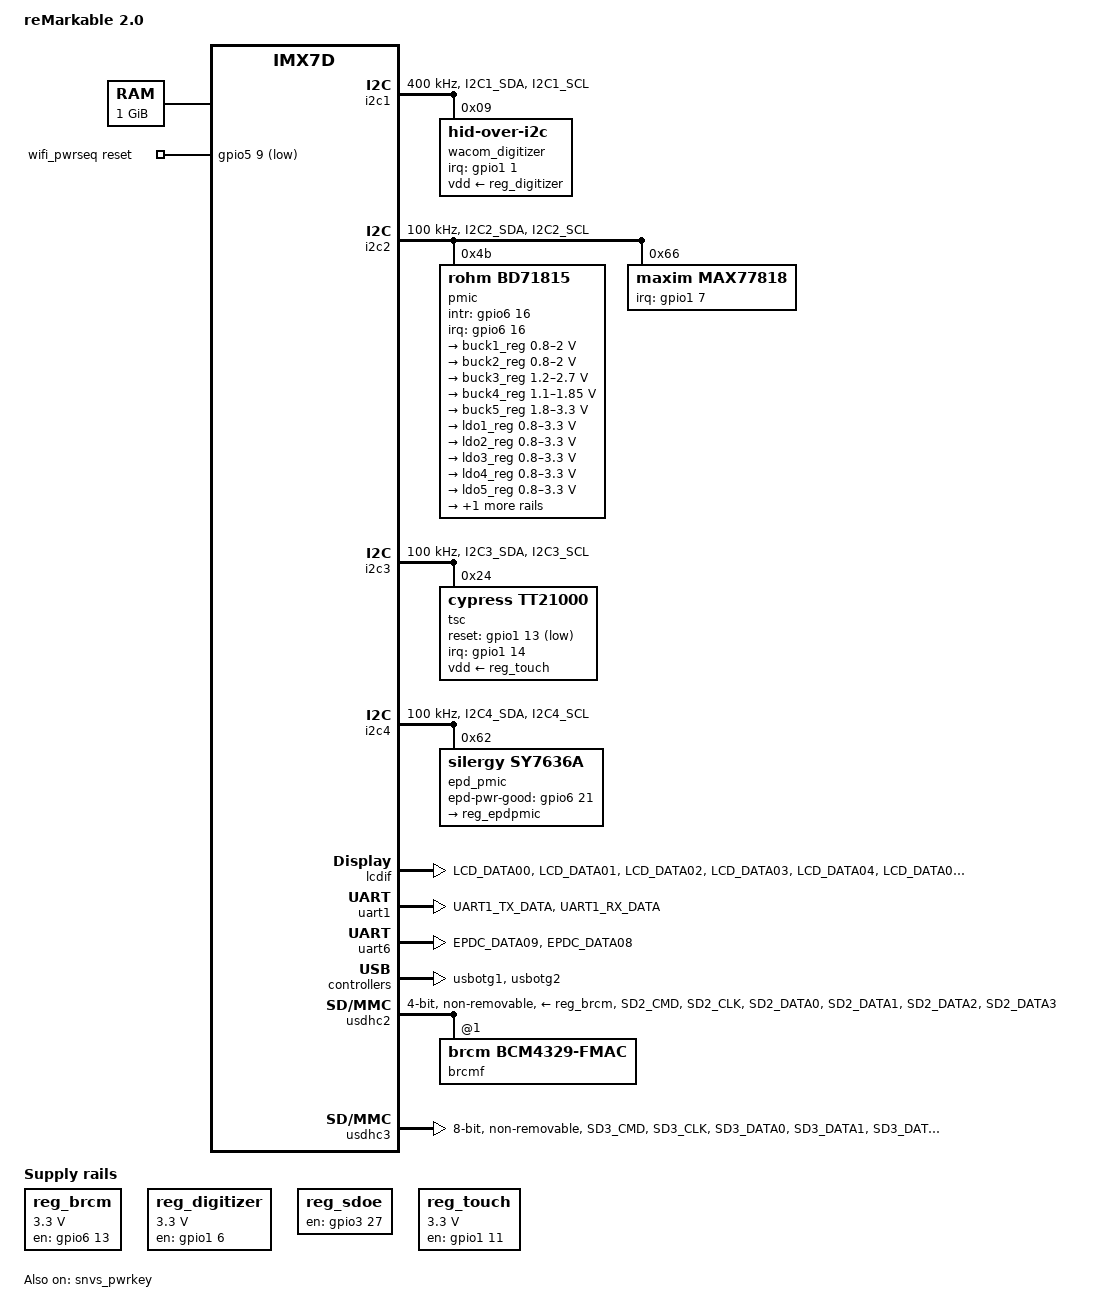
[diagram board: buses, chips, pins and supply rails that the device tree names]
// SPDX-License-Identifier: (GPL-2.0+ OR MIT)
/*
 * Copyright (C) 2015 Freescale Semiconductor, Inc.
 * Copyright (C) 2019 reMarkable AS - http://www.remarkable.com/
 *
 */

/dts-v1/;

#include "imx7d.dtsi"
#include <dt-bindings/input/linux-event-codes.h>

/ {
	model = "reMarkable 2.0";
	compatible = "remarkable,imx7d-remarkable2", "fsl,imx7d";

	chosen {
		stdout-path = &uart6;
	};

	memory@80000000 {
		device_type = "memory";
		reg = <0x80000000 0x40000000>;
	};

	thermal-zones {
		epd-thermal {
			thermal-sensors = <&epd_pmic>;
			polling-delay-passive = <30000>;
			polling-delay = <30000>;
			trips {
				trip0 {
					temperature = <49000>;
					hysteresis = <2000>;
					type = "passive";
				};

				trip1 {
					temperature = <50000>;
					hysteresis = <2000>;
					type = "critical";
				};
			};
		};
	};

	reg_brcm: regulator-brcm {
		compatible = "regulator-fixed";
		regulator-name = "brcm_reg";
		regulator-min-microvolt = <3300000>;
		regulator-max-microvolt = <3300000>;
		pinctrl-names = "default";
		pinctrl-0 = <&pinctrl_brcm_reg>;
		gpio = <&gpio6 13 GPIO_ACTIVE_HIGH>;
		enable-active-high;
		startup-delay-us = <150>;
	};

	reg_digitizer: regulator-digitizer {
		compatible = "regulator-fixed";
		regulator-name = "VDD_3V3_DIGITIZER";
		regulator-min-microvolt = <3300000>;
		regulator-max-microvolt = <3300000>;
		pinctrl-names = "default", "sleep";
		pinctrl-0 = <&pinctrl_digitizer_reg>;
		pinctrl-1 = <&pinctrl_digitizer_reg>;
		gpio = <&gpio1 6 GPIO_ACTIVE_HIGH>;
		enable-active-high;
		startup-delay-us = <100000>; /* 100 ms */
	};

	reg_sdoe: regulator-sdoe {
		compatible = "regulator-fixed";
		regulator-name = "SDOE";
		pinctrl-names = "default", "sleep";
		pinctrl-0 = <&pinctrl_sdoe_reg>;
		pinctrl-1 = <&pinctrl_sdoe_reg>;
		gpio = <&gpio3 27 GPIO_ACTIVE_HIGH>;
		enable-active-high;
	};

	reg_touch: regulator-touch {
		compatible = "regulator-fixed";
		regulator-name = "VDD_3V3_TOUCH";
		regulator-min-microvolt = <3300000>;
		regulator-max-microvolt = <3300000>;
		pinctrl-names = "default", "sleep";
		pinctrl-0 = <&pinctrl_touch_reg>;
		pinctrl-1 = <&pinctrl_touch_reg>;
		gpio = <&gpio1 11 GPIO_ACTIVE_HIGH>;
		enable-active-high;
	};

	wifi_pwrseq: wifi_pwrseq {
		compatible = "mmc-pwrseq-simple";
		pinctrl-names = "default";
		pinctrl-0 = <&pinctrl_wifi>;
		reset-gpios = <&gpio5 9 GPIO_ACTIVE_LOW>;
		clocks = <&clks IMX7D_CLKO2_ROOT_DIV>;
		clock-names = "ext_clock";
	};
};

&cpu0 {
	cpu-supply = <&buck1_reg>;
};

&clks {
	assigned-clocks = <&clks IMX7D_CLKO2_ROOT_SRC>,
			  <&clks IMX7D_CLKO2_ROOT_DIV>;
	assigned-clock-parents = <&clks IMX7D_CKIL>;
	assigned-clock-rates = <0>, <32768>;
};

&i2c1 {
	clock-frequency = <400000>;
	pinctrl-names = "default";
	pinctrl-0 = <&pinctrl_i2c1>;
	status = "okay";

	wacom_digitizer: digitizer@9 {
		compatible = "hid-over-i2c";
		reg = <0x09>;
		hid-descr-addr = <0x01>;
		pinctrl-names = "default";
		pinctrl-0 = <&pinctrl_wacom>;
		interrupt-parent = <&gpio1>;
		interrupts = <1 IRQ_TYPE_LEVEL_LOW>;
		touchscreen-inverted-x;
		touchscreen-inverted-y;
		vdd-supply = <&reg_digitizer>;
	};
};

&i2c2 {
	clock-frequency = <100000>;
	pinctrl-names = "default", "sleep";
	pinctrl-0 = <&pinctrl_i2c2>;
	pinctrl-1 = <&pinctrl_i2c2>;
	status = "okay";

	pmic: bd71815@4b {
		reg = <0x4b>;
		compatible = "rohm,bd71815";
		pinctrl-names = "default";
		pinctrl-0 = <&pinctrl_bd71815>;
		/* PMIC_INT_B GPIO6_IO16 */
		interrupt-parent = <&gpio6>;
		interrupts = <16 IRQ_TYPE_LEVEL_LOW>;
		gpio_intr = <&gpio6 16 0>;

		regulators {
			#address-cells = <1>;
			#size-cells = <0>;

			buck1_reg: regulator@0 {
				reg = <0>;
				regulator-compatible = "buck1";
				regulator-min-microvolt = <800000>;
				regulator-max-microvolt = <2000000>;
				regulator-boot-on;
				regulator-always-on;
				regulator-ramp-delay = <1250>;
			};

			buck2_reg: regulator@1 {
				reg = <1>;
				regulator-compatible = "buck2";
				regulator-min-microvolt = <800000>;
				regulator-max-microvolt = <2000000>;
				regulator-boot-on;
				regulator-always-on;
				regulator-ramp-delay = <1250>;
			};

			buck3_reg: regulator@2 {
				reg = <2>;
				regulator-compatible = "buck3";
				regulator-min-microvolt = <1200000>;
				regulator-max-microvolt = <2700000>;
				regulator-boot-on;
				regulator-always-on;
			};

			buck4_reg: regulator@3 {
				reg = <3>;
				regulator-compatible = "buck4";
				regulator-min-microvolt = <1100000>;
				regulator-max-microvolt = <1850000>;
				regulator-boot-on;
				regulator-always-on;
			};

			buck5_reg: regulator@4 {
				reg = <4>;
				regulator-compatible = "buck5";
				regulator-min-microvolt = <1800000>;
				regulator-max-microvolt = <3300000>;
				regulator-boot-on;
				regulator-always-on;
			};

			ldo1_reg: regulator@5 {
				reg = <5>;
				regulator-compatible = "ldo1";
				regulator-min-microvolt = <800000>;
				regulator-max-microvolt = <3300000>;
				regulator-boot-on;
				regulator-always-on;
			};

			ldo2_reg: regulator@6 {
				reg = <6>;
				regulator-compatible = "ldo2";
				regulator-min-microvolt = <800000>;
				regulator-max-microvolt = <3300000>;
				regulator-boot-on;
				regulator-always-on;
			};

			ldo3_reg: regulator@7 {
				reg = <7>;
				regulator-compatible = "ldo3";
				regulator-min-microvolt = <800000>;
				regulator-max-microvolt = <3300000>;
				regulator-boot-on;
				regulator-always-on;
			};

			ldo4_reg: regulator@8 {
				reg = <8>;
				regulator-compatible = "ldo4";
				regulator-min-microvolt = <800000>;
				regulator-max-microvolt = <3300000>;
				regulator-boot-on;
				regulator-always-on;
			};

			ldo5_reg: regulator@9 {
				reg = <9>;
				regulator-compatible = "ldo5";
				regulator-min-microvolt = <800000>;
				regulator-max-microvolt = <3300000>;
				regulator-boot-on;
				regulator-always-on;
			};

			dvref_reg: regulator@10 {
				reg = <10>;
				regulator-compatible = "dvref";
				regulator-boot-on;
				regulator-always-on;
			};

			lpsr_reg: regulator@11 {
				reg = <11>;
				regulator-compatible = "lpsr";
				regulator-boot-on;
				regulator-always-on;
			};

			wled_reg: regulator@12 {
				reg = <12>;
				regulator-compatible = "wled";
				regulator-min-microamp = <10>;
				regulator-max-microamp = <25000>;
				regulator-boot-on;
				regulator-always-on;
			};
		};
	};

	max77818@66 {
		compatible = "maxim,max77818";
		#address-cells = <0>;
		interrupt-parent = <&gpio1>;
		interrupts = <7 IRQ_TYPE_EDGE_FALLING>;
		pinctrl-names = "default", "sleep";
		pinctrl-0 = <&pinctrl_max77818 &pinctrl_chg_stat>;
		pinctrl-1 = <&pinctrl_max77818 &pinctrl_chg_stat>;
		reg = <0x66>;

		/* regulators {
			compatible = "maxim,max77818-regulator";

			reg_safeout1: SAFEOUT1 {
				regulator-name = "SAFEOUT1";
			};

			SAFEOUT2 {
				regulator-name = "SAFEOUT2";
			};
		};*/

		max77818_chg: charger {
			compatible = "maxim,max77818-charger";
			fast_charge_current = <1500>; /* mA */
			charge_termination_voltage = <4400>; /* mV */
			vsys_min = <3400>; /* mV */
			default_current_limit = <500>; /* mA */
			input_current_limit_chgin = <1500>; /* mA */
			input_current_limit_wcin = <1260>; /* mA */
			topoff_current = <100>; /* mA */
			chgin-stat-gpios = <&gpio6 19 GPIO_ACTIVE_LOW>;
			wcin-stat-gpios = <&gpio6 20 GPIO_ACTIVE_LOW>;
		};

		max77818_fg: fuelgauge {
			compatible = "maxim,max77818-fuelgauge";
			power-supplies = <&max77818_chg>;
			usb-phy1 = <&usbphynop1>;
			usb-phy2 = <&usbphynop2>;
			usb_safe_max_current = <500>; /* mA */
			maxim,over-heat-temp = <600>; /* tenths of degree Celsius */
			maxim,cold-temp = <(-200)>;
			maxim,over-volt = <4400>; /* mV */
			maxim,dead-volt = <3000>;
			maxim,at-rate = /bits/ 16 <0x1900>;
			maxim,design-cap = /bits/ 16 <0x1816>;
			maxim,config = /bits/ 16 <0x0a14>; /* FGCC Enabled */
			/* maxim,config = /bits/ 16 <0x0214>; /* FGCC disabled */
			maxim,config2 = /bits/ 16 <0x0050>;
			maxim,convgcfg = /bits/ 16 <0x2241>;
			maxim,dpacc = /bits/ 16 <0x3200>;
			maxim,dqacc = /bits/ 16 <0x0605>;
			maxim,filter-cfg = /bits/ 16 <0xcea4>;
			maxim,fullcapnom = /bits/ 16 <0x1816>;
			maxim,fullcaprep = /bits/ 16 <0x1816>;
			maxim,full-soc-threshold = /bits/ 16 <0x5f05>;
			maxim,iavg-empty = /bits/ 16 <0x1345>;
			maxim,ichg-term = /bits/ 16 <0x0180>;
			maxim,learn-cfg = /bits/ 16 <0x2602>;
			maxim,misc-cfg = /bits/ 16 <0x3870>;
			maxim,qresidual00 = /bits/ 16 <0x1000>;
			maxim,qresidual10 = /bits/ 16 <0x0880>;
			maxim,qresidual20 = /bits/ 16 <0x0500>;
			maxim,qresidual30 = /bits/ 16 <0x0480>;
			maxim,rcomp0 = /bits/ 16 <0x003a>;
			maxim,relax-cfg = /bits/ 16 <0x043c>;
			maxim,smart-chg-cfg = /bits/ 16 <0x0013>; /* SmartChg Enabled, SmartFull enabled */
			maxim,tempco = /bits/ 16 <0x1728>;
			maxim,v-empty = /bits/ 16 <0x9157>;
			maxim,tgain = /bits/ 16 <0xee56>;
			maxim,toff = /bits/ 16 <0x1da4>;
			maxim,tcurve = /bits/ 16 <0x0025>;
			maxim,talrt-th = /bits/ 16 <0x2d0a>; /* T2 = 10 deg/T2 = 45 deg */
			maxim,talrt-th2 = /bits/ 16 <0x3700>; /* T1 = 0 deg/T4 = 55 deg */
			maxim,jeita-curr = /bits/ 16 <0x18d0>; /* 19%/100%/19% */
			maxim,jeita-volt = /bits/ 16 <0xfc9f>; /* 4.4V/4.4V/4.1V */
			maxim,chargestate0 = /bits/ 16 <0x101e>;
			maxim,chargestate1 = /bits/ 16 <0x0c1e>;
			maxim,chargestate2 = /bits/ 16 <0x0c1e>;
			maxim,chargestate3 = /bits/ 16 <0x0c1e>;
			maxim,chargestate4 = /bits/ 16 <0x0c1e>;
			maxim,chargestate5 = /bits/ 16 <0x0c1e>;
			maxim,chargestate6 = /bits/ 16 <0x0c1e>;
			maxim,chargestate7 = /bits/ 16 <0x0c1e>;
			maxim,cell-model-data = /bits/ 16 <
				0x9d10 0xab90 0xb710 0xb8f0
				0xba90 0xbc10 0xbd10 0xbe00
				0xbef0 0xbff0 0xc1b0 0xc490
				0xc800 0xce40 0xd4c0 0xdb40
				0x0020 0x0200 0x0c40 0x0d00
				0x1120 0x1980 0x17b0 0x19f0
				0x0df0 0x10f0 0x08f0 0x0810
				0x0770 0x06f0 0x06a0 0x06a0
				0x0200 0x0200 0x0200 0x0200
				0x0200 0x0200 0x0200 0x0200
				0x0200 0x0200 0x0200 0x0200
				0x0200 0x0200 0x0200 0x0200
			>;
		};
	};
};

&i2c3 {
	clock-frequency = <100000>;
	pinctrl-names = "default";
	pinctrl-0 = <&pinctrl_i2c3>;
	status = "okay";

	tsc@24 {
		#address-cells = <1>;
		#size-cells = <0>;

		compatible = "cypress,tt21000";
		reg = <0x24>;

		pinctrl-names = "default";
		pinctrl-0 = <&pinctrl_touch>;
		interrupt-parent = <&gpio1>;
		interrupts = <14 IRQ_TYPE_EDGE_FALLING>;
		reset-gpios = <&gpio1 13 GPIO_ACTIVE_LOW>;
		vdd-supply = <&reg_touch>;
		touchscreen-size-x = <880>;
		touchscreen-size-y = <1280>;

		button@0 {
			reg = <0>;
			linux,keycodes = <KEY_HOMEPAGE>;
		};

		button@1 {
			reg = <1>;
			linux,keycodes = <KEY_MENU>;
		};

		button@2 {
			reg = <2>;
			linux,keycodes = <KEY_BACK>;
		};

		button@3 {
			reg = <3>;
			linux,keycodes = <KEY_SEARCH>;
		};

		button@4 {
			reg = <4>;
			linux,keycodes = <KEY_VOLUMEDOWN>;
		};

		button@5 {
			reg = <5>;
			linux,keycodes = <KEY_VOLUMEUP>;
		};

		button@6 {
			reg = <6>;
			linux,keycodes = <KEY_CAMERA>;
		};

		button@7 {
			reg = <7>;
			linux,keycodes = <KEY_POWER>;
		};
	};
};

&i2c4 {
	clock-frequency = <100000>;
	pinctrl-names = "default", "sleep";
	pinctrl-0 = <&pinctrl_i2c4>;
	pinctrl-1 = <&pinctrl_i2c4>;
	status = "okay";

	epd_pmic: sy7636a@62 {
		compatible = "silergy,sy7636a";
		reg = <0x62>;
		status = "okay";
		pinctrl-names = "default";
		pinctrl-0 = <&pinctrl_epdpmic>;
		#address-cells = <1>;
		#size-cells = <0>;
		#thermal-sensor-cells = <0>;

		epd-pwr-good-gpios = <&gpio6 21 GPIO_ACTIVE_HIGH>;
		regulators {
			reg_epdpmic: vcom {
				regulator-name = "vcom";
				regulator-boot-on;
			};
		};
	};
};

&lcdif {
	pinctrl-names = "default";
	pinctrl-0 = <&pinctrl_lcdif>;
	lcd-supply = <&reg_epdpmic>;
	lcd2-supply = <&reg_sdoe>;
	display = <&display0>;
	prevent-frying-pan;
	status = "okay";

	display0: display0 {
		bits-per-pixel = <24>;
		bus-width = <24>;

		display-timings {
			native-mode = <&timing0>;

			timing0: timing0 {
				clock-frequency = <40000000>;
				hactive = <334>;
				vactive = <1405>;
				hfront-porch = <1>;
				hback-porch = <1>;
				hsync-len = <1>;
				vback-porch = <1>;
				vfront-porch = <1>;
				vsync-len = <1>;
				hsync-active = <0>;
				vsync-active = <0>;
				de-active = <1>;
				pixelclk-active = <1>;
			};
		};
	};
};

&snvs_pwrkey {
	status = "okay";
};

&uart1 {
	pinctrl-names = "default";
	pinctrl-0 = <&pinctrl_uart1>;
	assigned-clocks = <&clks IMX7D_UART1_ROOT_SRC>;
	assigned-clock-parents = <&clks IMX7D_OSC_24M_CLK>;
	status = "okay";
};

&uart6 {
	pinctrl-names = "default";
	pinctrl-0 = <&pinctrl_uart6>;
	assigned-clocks = <&clks IMX7D_UART6_ROOT_SRC>;
	assigned-clock-parents = <&clks IMX7D_OSC_24M_CLK>;
	status = "okay";
};

&usbotg1 {
       srp-disable;
       hnp-disable;
       status = "okay";
};

&usbotg2 {
	srp-disable;
	hnp-disable;
	status = "okay";
};

&usdhc2 {
	#address-cells = <1>;
	#size-cells = <0>;
	pinctrl-names = "default", "state_100mhz", "state_200mhz", "sleep";
	pinctrl-0 = <&pinctrl_usdhc2>;
	pinctrl-1 = <&pinctrl_usdhc2_100mhz>;
	pinctrl-2 = <&pinctrl_usdhc2_200mhz>;
	mmc-pwrseq = <&wifi_pwrseq>;
	vmmc-supply = <&reg_brcm>;
	bus-width = <4>;
	non-removable;
	keep-power-in-suspend;
	cap-power-off-card;
	status = "okay";

	brcmf: bcrmf@1 {
		reg = <1>;
		compatible = "brcm,bcm4329-fmac";
	};
};

&usdhc3 {
	pinctrl-names = "default", "state_100mhz", "state_200mhz", "sleep";
	pinctrl-0 = <&pinctrl_usdhc3>;
	pinctrl-1 = <&pinctrl_usdhc3_100mhz>;
	pinctrl-2 = <&pinctrl_usdhc3_200mhz>;
	pinctrl-3 = <&pinctrl_usdhc3>;
	assigned-clocks = <&clks IMX7D_USDHC3_ROOT_CLK>;
	assigned-clock-rates = <400000000>;
	bus-width = <8>;
	non-removable;
	status = "okay";
};

&wdog1 {
	pinctrl-names = "default";
	pinctrl-0 = <&pinctrl_wdog>;
	fsl,ext-reset-output;
};

&iomuxc_lpsr {
	pinctrl_digitizer_reg: digitizerreggrp {
		fsl,pins = <
			/* DIGITIZER_PWR_EN */
			MX7D_PAD_LPSR_GPIO1_IO06__GPIO1_IO6	0x14
		>;
	};

	pinctrl_max77818: max77818grp {
		fsl,pins = <
			MX7D_PAD_LPSR_GPIO1_IO07__GPIO1_IO7	0x74
		>;
	};

	pinctrl_wacom: wacomgrp {
		fsl,pins = <
			/*MX7D_PAD_LPSR_GPIO1_IO05__GPIO1_IO5	0x00000014 FWE */
			MX7D_PAD_LPSR_GPIO1_IO04__GPIO1_IO4	0x00000074 /* PDCTB */
			MX7D_PAD_LPSR_GPIO1_IO01__GPIO1_IO1	0x00000034 /* WACOM INT */
			/*MX7D_PAD_LPSR_GPIO1_IO06__GPIO1_IO6	0x00000014 WACOM PWR ENABLE */
			/*MX7D_PAD_LPSR_GPIO1_IO00__GPIO1_IO0	0x00000074 WACOM RESET */
		>;
	};
};

&iomuxc {
	pinctrl_bd71815: bd71815grp {
		fsl,pins = <
			MX7D_PAD_SAI1_RX_SYNC__GPIO6_IO16	0x59
		>;
	};

	pinctrl_brcm_reg: brcmreggrp {
		fsl,pins = <
			/* WIFI_PWR_EN */
			MX7D_PAD_SAI1_TX_BCLK__GPIO6_IO13	0x14
		>;
	};

	pinctrl_chg_stat: chg_stat_grp {
		fsl,pins = <
			/* CHGIN OK/CONNECTED */
			MX7D_PAD_SAI2_TX_SYNC__GPIO6_IO19          0x00000074

			/* WCIN (USB-C) OK/CONNECTED */
			MX7D_PAD_SAI2_TX_BCLK__GPIO6_IO20          0x00000074

		>;
	};

	pinctrl_epdpmic: epdpmicgrp {
		fsl,pins = <
			MX7D_PAD_SAI2_RX_DATA__GPIO6_IO21 0x00000074
			MX7D_PAD_ENET1_RGMII_TXC__GPIO7_IO11 0x00000014
		>;
	};

	pinctrl_touch: touchgrp {
		fsl,pins = <
			/* CYTTSP interrupt */
			MX7D_PAD_GPIO1_IO14__GPIO1_IO14		0x54
			/* CYTTSP reset */
			MX7D_PAD_GPIO1_IO13__GPIO1_IO13		0x04
		>;
	};

	pinctrl_i2c1: i2c1grp {
		fsl,pins = <
			MX7D_PAD_I2C1_SDA__I2C1_SDA		0x4000007f
			MX7D_PAD_I2C1_SCL__I2C1_SCL		0x4000007f
		>;
	};

	pinctrl_i2c2: i2c2grp {
		fsl,pins = <
			MX7D_PAD_I2C2_SDA__I2C2_SDA		0x4000007f
			MX7D_PAD_I2C2_SCL__I2C2_SCL		0x4000007f
		>;
	};

	pinctrl_i2c3: i2c3grp {
		fsl,pins = <
			MX7D_PAD_I2C3_SDA__I2C3_SDA		0x4000007f
			MX7D_PAD_I2C3_SCL__I2C3_SCL		0x4000007f
		>;
	};

	pinctrl_i2c4: i2c4grp {
		fsl,pins = <
			MX7D_PAD_I2C4_SDA__I2C4_SDA		0x4000007f
			MX7D_PAD_I2C4_SCL__I2C4_SCL		0x4000007f
		>;
	};

	pinctrl_lcdif: lcdifgrp {
		fsl,pins = <
			MX7D_PAD_LCD_DATA00__LCD_DATA0		0x79
			MX7D_PAD_LCD_DATA01__LCD_DATA1		0x79
			MX7D_PAD_LCD_DATA02__LCD_DATA2		0x79
			MX7D_PAD_LCD_DATA03__LCD_DATA3		0x79
			MX7D_PAD_LCD_DATA04__LCD_DATA4		0x79
			MX7D_PAD_LCD_DATA05__LCD_DATA5		0x79
			MX7D_PAD_LCD_DATA06__LCD_DATA6		0x79
			MX7D_PAD_LCD_DATA07__LCD_DATA7		0x79
			MX7D_PAD_LCD_DATA08__LCD_DATA8		0x79
			MX7D_PAD_LCD_DATA09__LCD_DATA9		0x79
			MX7D_PAD_LCD_DATA10__LCD_DATA10		0x79
			MX7D_PAD_LCD_DATA11__LCD_DATA11		0x79
			MX7D_PAD_LCD_DATA12__LCD_DATA12		0x79
			MX7D_PAD_LCD_DATA13__LCD_DATA13		0x79
			MX7D_PAD_LCD_DATA14__LCD_DATA14		0x79
			MX7D_PAD_LCD_DATA15__LCD_DATA15		0x79

			MX7D_PAD_LCD_DATA17__LCD_DATA17		0x79
			MX7D_PAD_LCD_DATA18__LCD_DATA18		0x79
			MX7D_PAD_LCD_DATA19__LCD_DATA19		0x79
			MX7D_PAD_LCD_DATA20__LCD_DATA20		0x79
			MX7D_PAD_LCD_DATA21__LCD_DATA21		0x79

			MX7D_PAD_LCD_DATA23__LCD_DATA23		0x79
			MX7D_PAD_LCD_CLK__LCD_CLK		0x79
			MX7D_PAD_LCD_ENABLE__LCD_ENABLE		0x79
			MX7D_PAD_LCD_VSYNC__LCD_VSYNC		0x79
			MX7D_PAD_LCD_HSYNC__LCD_HSYNC		0x79
			MX7D_PAD_LCD_RESET__LCD_RESET		0x79
		>;
	};

	pinctrl_sdoe_reg: sdoereggrp {
		fsl,pins = <
			MX7D_PAD_LCD_DATA22__GPIO3_IO27		0x74
		>;
	};

	pinctrl_touch_reg: touchreggrp {
		fsl,pins = <
			/* TOUCH_PWR_EN */
			MX7D_PAD_GPIO1_IO11__GPIO1_IO11		0x14
		>;
	};

	pinctrl_uart1: uart1grp {
		fsl,pins = <
			MX7D_PAD_UART1_TX_DATA__UART1_DCE_TX	0x79
			MX7D_PAD_UART1_RX_DATA__UART1_DCE_RX	0x79
		>;
	};

	pinctrl_uart6: uart6grp {
		fsl,pins = <
			MX7D_PAD_EPDC_DATA09__UART6_DCE_TX		0x79
			MX7D_PAD_EPDC_DATA08__UART6_DCE_RX		0x79
		>;
	};

	pinctrl_usdhc2: usdhc2grp {
		fsl,pins = <
			MX7D_PAD_SD2_CMD__SD2_CMD		0x59
			MX7D_PAD_SD2_CLK__SD2_CLK		0x19
			MX7D_PAD_SD2_DATA0__SD2_DATA0		0x59
			MX7D_PAD_SD2_DATA1__SD2_DATA1		0x59
			MX7D_PAD_SD2_DATA2__SD2_DATA2		0x59
			MX7D_PAD_SD2_DATA3__SD2_DATA3		0x59
		>;
	};

	pinctrl_usdhc2_100mhz: usdhc2grp_100mhz {
		fsl,pins = <
			MX7D_PAD_SD2_CMD__SD2_CMD		0x5a
			MX7D_PAD_SD2_CLK__SD2_CLK		0x1a
			MX7D_PAD_SD2_DATA0__SD2_DATA0		0x5a
			MX7D_PAD_SD2_DATA1__SD2_DATA1		0x5a
			MX7D_PAD_SD2_DATA2__SD2_DATA2		0x5a
			MX7D_PAD_SD2_DATA3__SD2_DATA3		0x5a
		>;
	};

	pinctrl_usdhc2_200mhz: usdhc2grp_200mhz {
		fsl,pins = <
			MX7D_PAD_SD2_CMD__SD2_CMD		0x5b
			MX7D_PAD_SD2_CLK__SD2_CLK		0x1b
			MX7D_PAD_SD2_DATA0__SD2_DATA0		0x5b
			MX7D_PAD_SD2_DATA1__SD2_DATA1		0x5b
			MX7D_PAD_SD2_DATA2__SD2_DATA2		0x5b
			MX7D_PAD_SD2_DATA3__SD2_DATA3		0x5b
		>;
	};

	pinctrl_usdhc3: usdhc3grp {
		fsl,pins = <
			MX7D_PAD_SD3_CMD__SD3_CMD		0x59
			MX7D_PAD_SD3_CLK__SD3_CLK		0x19
			MX7D_PAD_SD3_DATA0__SD3_DATA0		0x59
			MX7D_PAD_SD3_DATA1__SD3_DATA1		0x59
			MX7D_PAD_SD3_DATA2__SD3_DATA2		0x59
			MX7D_PAD_SD3_DATA3__SD3_DATA3		0x59
			MX7D_PAD_SD3_DATA4__SD3_DATA4		0x59
			MX7D_PAD_SD3_DATA5__SD3_DATA5		0x59
			MX7D_PAD_SD3_DATA6__SD3_DATA6		0x59
			MX7D_PAD_SD3_DATA7__SD3_DATA7		0x59
			MX7D_PAD_SD3_STROBE__SD3_STROBE		0x19
		>;
	};

	pinctrl_usdhc3_100mhz: usdhc3grp_100mhz {
		fsl,pins = <
			MX7D_PAD_SD3_CMD__SD3_CMD		0x5a
			MX7D_PAD_SD3_CLK__SD3_CLK		0x1a
			MX7D_PAD_SD3_DATA0__SD3_DATA0		0x5a
			MX7D_PAD_SD3_DATA1__SD3_DATA1		0x5a
			MX7D_PAD_SD3_DATA2__SD3_DATA2		0x5a
			MX7D_PAD_SD3_DATA3__SD3_DATA3		0x5a
			MX7D_PAD_SD3_DATA4__SD3_DATA4		0x5a
			MX7D_PAD_SD3_DATA5__SD3_DATA5		0x5a
			MX7D_PAD_SD3_DATA6__SD3_DATA6		0x5a
			MX7D_PAD_SD3_DATA7__SD3_DATA7		0x5a
			MX7D_PAD_SD3_STROBE__SD3_STROBE		0x1a
		>;
	};

	pinctrl_usdhc3_200mhz: usdhc3grp_200mhz {
		fsl,pins = <
			MX7D_PAD_SD3_CMD__SD3_CMD		0x5b
			MX7D_PAD_SD3_CLK__SD3_CLK		0x1b
			MX7D_PAD_SD3_DATA0__SD3_DATA0		0x5b
			MX7D_PAD_SD3_DATA1__SD3_DATA1		0x5b
			MX7D_PAD_SD3_DATA2__SD3_DATA2		0x5b
			MX7D_PAD_SD3_DATA3__SD3_DATA3		0x5b
			MX7D_PAD_SD3_DATA4__SD3_DATA4		0x5b
			MX7D_PAD_SD3_DATA5__SD3_DATA5		0x5b
			MX7D_PAD_SD3_DATA6__SD3_DATA6		0x5b
			MX7D_PAD_SD3_DATA7__SD3_DATA7		0x5b
			MX7D_PAD_SD3_STROBE__SD3_STROBE		0x1b
		>;
	};

	pinctrl_wdog: wdoggrp {
		fsl,pins = <
			MX7D_PAD_ENET1_COL__WDOG1_WDOG_ANY	0x74
		>;
	};

	pinctrl_wifi: wifigrp {
		fsl,pins = <
			/* WiFi Reg On */
			MX7D_PAD_SD2_CD_B__GPIO5_IO9		0x00000014
			/* WiFi Sleep 32k */
			MX7D_PAD_SD1_WP__CCM_CLKO2		0x00000014
		>;
	};
};
